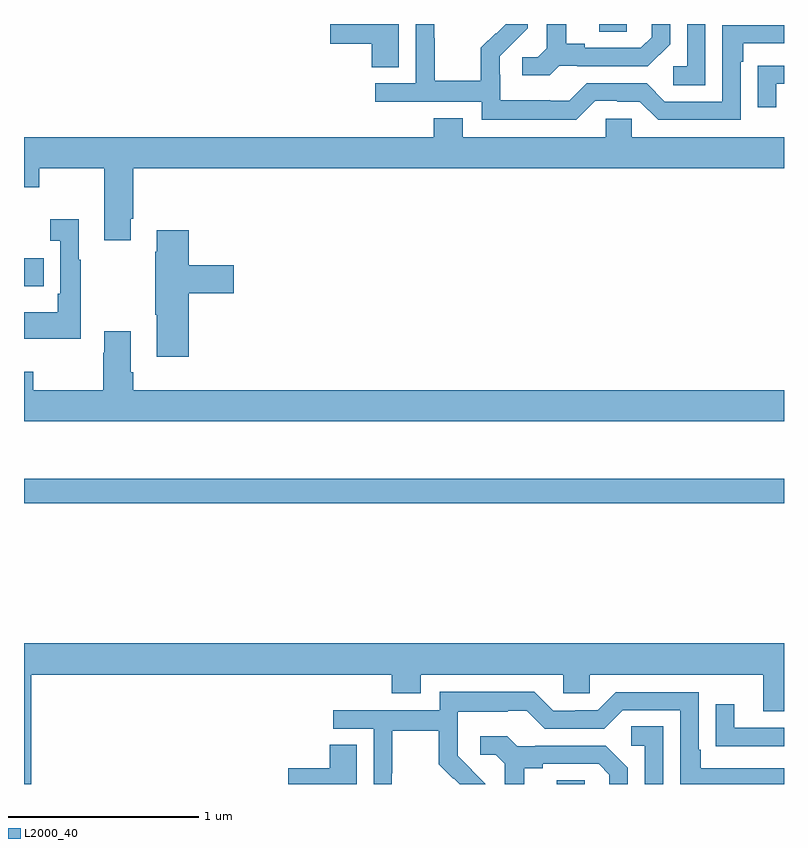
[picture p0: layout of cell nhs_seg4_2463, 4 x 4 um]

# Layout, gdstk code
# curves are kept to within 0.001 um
import gdstk
lib = gdstk.Library(unit=1e-6, precision=1e-09)
def R(c, l, rs):  # rectangles x0, y0, x1, y1
    for r in rs: c.add(gdstk.rectangle(r[:2], r[2:], *l))
def P(c, l, *ps):  # polygons
    for p in ps: c.add(gdstk.Polygon(p, *l))
L2000_40 = (2000, 40)

nhs_seg4_2463 = lib.new_cell('nhs_seg4_2463')
R(nhs_seg4_2463, L2000_40, [(241.805,806.9,241.95,806.921), (239,808.378,243,808.507), (239,809.519,239.105,809.667), (242.027,810.859,242.172,810.9)])
P(nhs_seg4_2463, L2000_40, [(242.007,810.495),(242.123,810.495),(242.123,810.492),(242.241,810.492),(242.337,810.396),(242.772,810.396),(242.772,810.701),(242.785,810.701),(242.785,810.798),(243,810.798),(243,810.894),(242.676,810.894),(242.676,810.492),(242.373,810.492),(242.277,810.588),(241.962,810.588),(241.869,810.495),(241.769,810.495),(241.769,810.499),(241.506,810.499),(241.506,810.633),(241.504,810.633),(241.504,810.73),(241.65,810.878),(241.65,810.9),(241.536,810.9),(241.485,810.849),(241.482,810.852),(241.405,810.775),(241.405,810.601),(241.161,810.601),(241.161,810.824),(241.158,810.824),(241.158,810.9),(241.062,810.9),(241.062,810.588),(240.849,810.588),(240.849,810.492),(241.41,810.492),(241.41,810.395),(241.907,810.395)],
  [(241.818,810.681),(241.912,810.681),(241.912,810.678),(242.284,810.678),(242.4,810.794),(242.4,810.9),(242.303,810.9),(242.303,810.831),(242.246,810.774),(241.951,810.774),(241.951,810.797),(241.855,810.797),(241.855,810.9),(241.751,810.9),(241.751,810.773),(241.704,810.726),(241.623,810.726),(241.623,810.629),(241.766,810.629)],
  [(242.586,810.9),(242.49,810.9),(242.49,810.678),(242.418,810.678),(242.418,810.577),(242.586,810.577)],
  [(240.973,810.9),(240.612,810.9),(240.612,810.797),(240.83,810.797),(240.83,810.673),(240.973,810.673)],
  [(242.959,810.585),(243,810.585),(243,810.681),(242.965,810.681),(242.965,810.68),(242.863,810.68),(242.863,810.462),(242.959,810.462)],
  [(243,810.304),(242.199,810.304),(242.199,810.402),(242.061,810.402),(242.061,810.304),(241.309,810.304),(241.309,810.403),(241.157,810.403),(241.157,810.304),(239,810.304),(239,810.041),(239.079,810.041),(239.079,810.14),(239.423,810.14),(239.423,809.763),(239.563,809.763),(239.563,809.875),(239.576,809.875),(239.576,810.14),(243,810.14)],
  [(239.299,809.659),(239.287,809.659),(239.287,809.872),(239.139,809.872),(239.139,809.759),(239.19,809.759),(239.19,809.479),(239.178,809.479),(239.178,809.383),(239,809.383),(239,809.243),(239.299,809.243)],
  [(239.867,809.483),(240.103,809.483),(240.103,809.63),(239.867,809.63),(239.867,809.815),(239.699,809.815),(239.699,809.702),(239.692,809.702),(239.692,809.371),(239.699,809.371),(239.699,809.148),(239.867,809.148)],
  [(243,808.972),(239.576,808.972),(239.576,809.068),(239.563,809.068),(239.563,809.284),(239.423,809.284),(239.423,809.171),(239.416,809.171),(239.416,808.972),(239.049,808.972),(239.049,809.071),(239,809.071),(239,808.808),(243,808.808)],
  [(239.039,807.476),(240.935,807.476),(240.935,807.377),(241.087,807.377),(241.087,807.476),(241.839,807.476),(241.839,807.378),(241.977,807.378),(241.977,807.476),(242.891,807.476),(242.891,807.282),(243,807.282),(243,807.64),(239,807.64),(239,806.9),(239.039,806.9)],
  [(240.936,806.956),(240.939,806.956),(240.939,807.18),(241.183,807.18),(241.183,807.005),(241.26,806.928),(241.263,806.931),(241.294,806.9),(241.428,806.9),(241.428,806.902),(241.355,806.975),(241.356,806.976),(241.282,807.05),(241.282,807.147),(241.284,807.147),(241.284,807.281),(241.547,807.281),(241.547,807.285),(241.647,807.285),(241.74,807.192),(242.055,807.192),(242.151,807.288),(242.454,807.288),(242.454,806.9),(243,806.9),(243,806.982),(242.563,806.982),(242.563,807.079),(242.55,807.079),(242.55,807.384),(242.115,807.384),(242.019,807.288),(241.901,807.288),(241.901,807.285),(241.785,807.285),(241.685,807.385),(241.188,807.385),(241.188,807.288),(240.627,807.288),(240.627,807.192),(240.84,807.192),(240.84,806.9),(240.936,806.9)],
  [(243,807.195),(242.737,807.195),(242.737,807.319),(242.641,807.319),(242.641,807.1),(242.743,807.1),(242.743,807.099),(243,807.099)],
  [(242.364,807.203),(242.196,807.203),(242.196,807.102),(242.268,807.102),(242.268,806.9),(242.364,806.9)],
  [(241.633,806.984),(241.729,806.984),(241.729,807.006),(242.024,807.006),(242.081,806.949),(242.081,806.9),(242.178,806.9),(242.178,806.986),(242.062,807.102),(241.69,807.102),(241.69,807.099),(241.596,807.099),(241.544,807.151),(241.401,807.151),(241.401,807.054),(241.482,807.054),(241.529,807.007),(241.529,806.9),(241.633,806.9)],
  [(240.751,807.107),(240.608,807.107),(240.608,806.984),(240.39,806.984),(240.39,806.9),(240.751,806.9)])

lib.write_gds('nhs_seg4_2463.gds')
